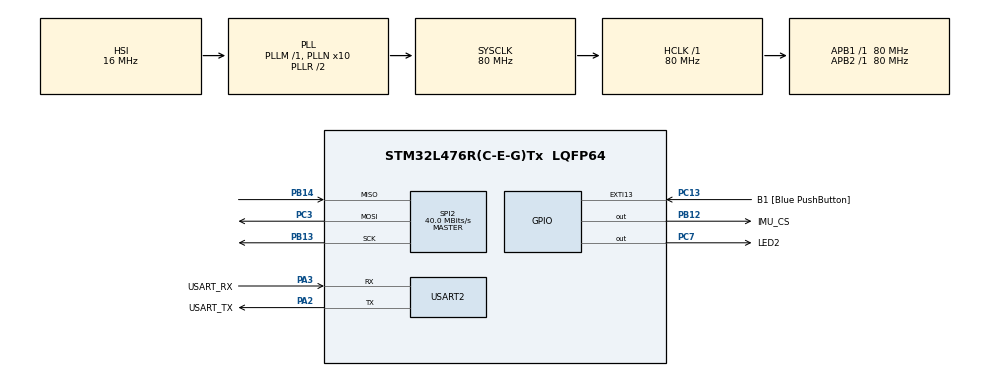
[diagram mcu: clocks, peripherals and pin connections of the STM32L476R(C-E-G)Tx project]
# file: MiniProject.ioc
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Mcu.Family=STM32L4
Mcu.Name=STM32L476R(C-E-G)Tx
Mcu.Package=LQFP64
NVIC.PriorityGroup=NVIC_PRIORITYGROUP_4
PA13\ (JTMS-SWDIO).GPIO_Label=TMS
PA13\ (JTMS-SWDIO).Mode=Serial_Wire
PA13\ (JTMS-SWDIO).Signal=SYS_JTMS-SWDIO
PA14\ (JTCK-SWCLK).GPIO_Label=TCK
PA14\ (JTCK-SWCLK).Mode=Serial_Wire
PA14\ (JTCK-SWCLK).Signal=SYS_JTCK-SWCLK
PA2.GPIO_Label=USART_TX
PA2.GPIO_Mode=GPIO_MODE_AF_PP
PA2.GPIO_PuPd=GPIO_NOPULL
PA2.GPIO_Speed=GPIO_SPEED_FREQ_VERY_HIGH
PA2.Mode=Asynchronous
PA2.Signal=USART2_TX
PA3.GPIO_Label=USART_RX
PA3.GPIO_Mode=GPIO_MODE_AF_PP
PA3.GPIO_PuPd=GPIO_NOPULL
PA3.GPIO_Speed=GPIO_SPEED_FREQ_VERY_HIGH
PA3.Mode=Asynchronous
PA3.Signal=USART2_RX
PB12.GPIO_Label=IMU_CS
PB12.Signal=GPIO_Output
PB13.Mode=Full_Duplex_Master
PB13.Signal=SPI2_SCK
PB14.Mode=Full_Duplex_Master
PB14.Signal=SPI2_MISO
PB3\ (JTDO-TRACESWO).GPIO_Label=SWO
PB3\ (JTDO-TRACESWO).Signal=SYS_JTDO-SWO
PC13.GPIO_Label=B1 [Blue PushButton]
PC13.GPIO_ModeDefaultEXTI=GPIO_MODE_IT_FALLING
PC13.GPIO_PuPd=GPIO_NOPULL
PC13.Signal=GPXTI13
PC14-OSC32_IN\ (PC14).Mode=LSE-External-Oscillator
PC14-OSC32_IN\ (PC14).Signal=RCC_OSC32_IN
PC15-OSC32_OUT\ (PC15).Mode=LSE-External-Oscillator
PC15-OSC32_OUT\ (PC15).Signal=RCC_OSC32_OUT
PC3.Mode=Full_Duplex_Master
PC3.Signal=SPI2_MOSI
PC7.GPIO_Label=LED2
PC7.Signal=GPIO_Output
PH0-OSC_IN\ (PH0).Signal=RCC_OSC_IN
PH1-OSC_OUT\ (PH1).Signal=RCC_OSC_OUT
ProjectManager.HeapSize=0x200
ProjectManager.StackSize=0x400
ProjectManager.TargetToolchain=CMake
RCC.ADCFreq_Value=64000000
RCC.AHBFreq_Value=80000000
RCC.APB1Freq_Value=80000000
RCC.APB1TimFreq_Value=80000000
RCC.APB2Freq_Value=80000000
RCC.APB2TimFreq_Value=80000000
RCC.CortexFreq_Value=80000000
RCC.HCLKFreq_Value=80000000
RCC.HSE_VALUE=8000000
RCC.HSI_VALUE=16000000
RCC.MSI_VALUE=4000000
RCC.PLLN=10
RCC.PLLSourceVirtual=RCC_PLLSOURCE_HSI
RCC.SYSCLKFreq_VALUE=80000000
RCC.SYSCLKSource=RCC_SYSCLKSOURCE_PLLCLK
RCC.USBFreq_Value=64000000
RCC.VCOOutputFreq_Value=160000000
SPI2.CalculateBaudRate=40.0 MBits/s
SPI2.DataSize=SPI_DATASIZE_8BIT
SPI2.Direction=SPI_DIRECTION_2LINES
SPI2.Mode=SPI_MODE_MASTER
SPI2.VirtualType=VM_MASTER
USART2.VirtualMode-Asynchronous=VM_ASYNC
board=NUCLEO-L476RG

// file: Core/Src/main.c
/* USER CODE BEGIN Header */
/**
  ******************************************************************************
  * @file           : main.c
  * @brief          : Main program body
  ******************************************************************************
  * @attention
  *
  * Copyright (c) 2025 STMicroelectronics.
  * All rights reserved.
  *
  * This software is licensed under terms that can be found in the LICENSE file
  * in the root directory of this software component.
  * If no LICENSE file comes with this software, it is provided AS-IS.
  *
  ******************************************************************************
  */
/* USER CODE END Header */
#include "main.h"

/* USER CODE BEGIN Includes */
#include "stm32l476xx.h"
#include "stm32l4xx_hal.h"
#include "stm32l4xx_hal_cortex.h"
#include "stm32l4xx_hal_pwr.h"
#include "stm32l4xx_hal_spi.h"
#include "stm32l4xx_hal_uart.h"
#include <stdint.h>
#include <string.h>
#include <stdio.h>
#include <math.h>
/* USER CODE END Includes */

SPI_HandleTypeDef hspi2;
UART_HandleTypeDef huart2;

/* USER CODE BEGIN PV */
//[change point 1] add button, for waking up from sleep mode
volatile int button_pressed_flag = 0;
/* USER CODE END PV */

void SystemClock_Config(void);
static void MX_GPIO_Init(void);
static void MX_USART2_UART_Init(void);
static void MX_SPI2_Init(void);

/* USER CODE BEGIN 0 */
int _write(int file, char *ptr, int len) {
    HAL_UART_Transmit(&huart2, (uint8_t*)ptr, len, HAL_MAX_DELAY);
    return len;
}

// --- Definition of Registers ---
#define WHO_AM_I_REG   0x0F
#define CTRL1_XL       0x10
#define CTRL2_G        0x11
#define OUTX_L_G       0x22
#define OUTX_L_XL      0x28

// --- Constant ---
#define SENSITIVITY_4G      0.000061f

// --- SPI Read/Write ---
void IMU_Write(uint8_t reg, uint8_t data) {
    HAL_GPIO_WritePin(IMU_CS_GPIO_Port, IMU_CS_Pin, GPIO_PIN_RESET); // CS low
    uint8_t addr = reg & 0x7F;

    HAL_StatusTypeDef st;
    st = HAL_SPI_Transmit(&hspi2, &addr, 1, 100);
    if (st != HAL_OK) printf("IMU_Write: addr tx failed (HAL_Status=%d)\r\n", (int)st);

    st = HAL_SPI_Transmit(&hspi2, &data, 1, 100);
    if (st != HAL_OK) printf("IMU_Write: data tx failed (HAL_Status=%d)\r\n", (int)st);

    HAL_GPIO_WritePin(IMU_CS_GPIO_Port, IMU_CS_Pin, GPIO_PIN_SET);   // CS high
}

void IMU_Read(uint8_t reg, uint8_t *data, uint16_t len) {
  HAL_GPIO_WritePin(IMU_CS_GPIO_Port, IMU_CS_Pin, GPIO_PIN_RESET); // CS low
  uint8_t addr = reg | 0x80; // read + auto-inc

  HAL_StatusTypeDef st;
  st = HAL_SPI_Transmit(&hspi2, &addr, 1, 100);
  if (st != HAL_OK) printf("IMU_Read: addr tx failed (HAL_Status=%d)\r\n", (int)st);

  for (uint16_t i = 0; i < len; i++) {
    uint8_t tx = 0xFF;
    st = HAL_SPI_TransmitReceive(&hspi2, &tx, &data[i], 1, 100);
    if (st != HAL_OK) {
      printf("IMU_Read: rx[%u] failed (HAL_Status=%d)\r\n", (unsigned)i, (int)st);
      data[i] = 0x00;
    }
  }

  HAL_GPIO_WritePin(IMU_CS_GPIO_Port, IMU_CS_Pin, GPIO_PIN_SET);   // CS high
}

// --- Initialization and Read ---
void IMU_Init_SPI(void) {
  HAL_Delay(100);
  uint8_t who_am_i = 0;

  // Read ID
  IMU_Read(WHO_AM_I_REG, &who_am_i, 1);
  printf("WHO_AM_I: 0x%02X\r\n", who_am_i);

  if (who_am_i == 0x70 || who_am_i == 0x71 || who_am_i == 0x6A) {
    printf(">>> Sensor Found! Initializing...\r\n");

    // Reset (SW_RESET) & Address Auto Increment (IF_INC)
    IMU_Write(0x12, 0x05);
    HAL_Delay(50); // wait for reset

    // Make sure for IF_INC and close BDU (protect against partial reads)
    IMU_Write(0x12, 0x04);

    // Set configuration for accelerometer: range ±4g, rate 104Hz
    IMU_Write(CTRL1_XL, 0x44);

    // check if CTRL1_XL really be 0x44
    uint8_t check_val = 0;
    IMU_Read(CTRL1_XL, &check_val, 1);

    if(check_val == 0x44) {
        printf(">>> Init SUCCESS! CTRL1_XL is 0x44. Sensor Active.\r\n");
    } else {
        printf("!!! Init FAILED! CTRL1_XL read back: 0x%02X (Expected 0x44) !!!\r\n", check_val);
        printf("Possible cause: SPI Write Error or CS pin issue.\r\n");
    }

  } else {
    printf("Warning: Unknown Device ID 0x%02X.\r\n", who_am_i);
  }
}

// Try alternate SPI CPOL/CPHA combinations if WHO_AM_I was unexpected
void IMU_Probe_SPI_Modes(uint8_t *detected_id) {
  uint8_t id = *detected_id;
  if (id == 0x6A) return; // ok

  struct {
    uint32_t cpol;
    uint32_t cpha;
    const char *name;
  } modes[] = {
    {SPI_POLARITY_LOW,  SPI_PHASE_1EDGE, "Mode 0"},
    {SPI_POLARITY_LOW,  SPI_PHASE_2EDGE, "Mode 1"},
    {SPI_POLARITY_HIGH, SPI_PHASE_1EDGE, "Mode 2"},
    {SPI_POLARITY_HIGH, SPI_PHASE_2EDGE, "Mode 3"},
  };

  for (int m = 0; m < 4; m++) {
    hspi2.Init.CLKPolarity = modes[m].cpol;
    hspi2.Init.CLKPhase = modes[m].cpha;

    if (HAL_SPI_DeInit(&hspi2) != HAL_OK) {
      printf("IMU_Probe: HAL_SPI_DeInit failed for %s\r\n", modes[m].name);
    }

    if (HAL_SPI_Init(&hspi2) != HAL_OK) {
      printf("IMU_Probe: HAL_SPI_Init failed for %s\r\n", modes[m].name);
      continue;
    }

    HAL_Delay(10);
    uint8_t who = 0;
    IMU_Read(WHO_AM_I_REG, &who, 1);

    printf("Probe %s -> WHO_AM_I=0x%02X\r\n", modes[m].name, who);
    if (who == 0x6A) {
      *detected_id = who;
      printf("IMU found with %s\r\n", modes[m].name);
      return;
    }
  }
}

// Helper: read raw accel registers (6 bytes)
void IMU_ReadRawAccel(uint8_t raw[6]) {
  IMU_Read(OUTX_L_XL, raw, 6);
}

// === Algorithm 1: calculate vector magnitude ===
float Get_Vector(void) {
    uint8_t raw[6];
    IMU_Read(OUTX_L_XL, raw, 6);
    int16_t x = (int16_t)(raw[1] << 8 | raw[0]);
    int16_t y = (int16_t)(raw[3] << 8 | raw[2]);
    int16_t z = (int16_t)(raw[5] << 8 | raw[4]);
    float xg = x * SENSITIVITY_4G;
    float yg = y * SENSITIVITY_4G;
    float zg = z * SENSITIVITY_4G;
    return sqrtf(xg*xg + yg*yg + zg*zg);
}

// === Algorithm 2: calculate angle ===
float Get_Angle(void) {
    uint8_t raw[6];
    // Read acceleration data (SPI read 6 bytes)
    IMU_Read(OUTX_L_XL, raw, 6);

    // Convert raw data
    // angle calculation temporarily not using X axis
    int16_t y = (int16_t)(raw[3] << 8 | raw[2]);
    int16_t z = (int16_t)(raw[5] << 8 | raw[4]);

    // Convert to physical units (g)
    float yg = y * SENSITIVITY_4G;
    float zg = z * SENSITIVITY_4G;

    // Calculate angle (using atan2)
    float angle_rad = atan2f(yg, zg);
    float angle_deg = angle_rad * 57.296f; // 57.296f = (180 / PI)

    return fabsf(angle_deg); // Take absolute value
}

void Profiling_Init(void){
  // Use DWT (Data Watchpoint and Trace)
  CoreDebug->DEMCR |= CoreDebug_DEMCR_TRCENA_Msk;

  DWT->CYCCNT = 0; // reset cycle counter
  DWT->CTRL |= DWT_CTRL_CYCCNTENA_Msk; // start period
}

void Profiling_Start(void){
  DWT->CYCCNT = 0;
}

uint32_t Profiling_Stop(void){
  return DWT->CYCCNT;
}

/* USER CODE END 0 */

int main(void)
{

  /* MCU Configuration--------------------------------------------------------*/

  /* Reset of all peripherals, Initializes the Flash interface and the Systick. */
  HAL_Init();

  /* Configure the system clock */
  SystemClock_Config();

  /* Initialize all configured peripherals */
  MX_GPIO_Init();
  MX_USART2_UART_Init();
  MX_SPI2_Init();
  /* USER CODE BEGIN 2 */
  // Hardware self-test: UART + LED blink
  printf("\r\n--- Fall Detection Project Start ---\r\n");
  printf("SELFTEST: Blinking LED2 for 3 times\r\n");
  for (int k = 0; k < 3; k++) {
    HAL_GPIO_WritePin(LED2_GPIO_Port, LED2_Pin, GPIO_PIN_SET);
    HAL_Delay(200);
    HAL_GPIO_WritePin(LED2_GPIO_Port, LED2_Pin, GPIO_PIN_RESET);
    HAL_Delay(200);
  }

  IMU_Init_SPI();

  /* USER CODE END 2 */

  /* Infinite loop */
  /* USER CODE BEGIN WHILE */
  static uint8_t init_done = 0;
  if(init_done == 0) {
      IMU_Init_SPI();
      HAL_Delay(500);
      init_done = 1;
  }

  Profiling_Init();
  printf("System Clock: %lu Hz\r\n", HAL_RCC_GetSysClockFreq()); // Print system clock frequency

  while (1)
  {
    /* USER CODE END WHILE */

    /* USER CODE BEGIN 3 */
    /* USER CODE BEGIN 3 */

    // ------------------------------------------
    // 1. ACTIVE MODE (data acquisition & processing)
    // ------------------------------------------
    printf("Active Mode...\r\n");
    /* Method 2: improved angle-based detection
       - low-pass filter the angle to remove jitter
       - detect a rapid angle spike (large delta), then check for sustained large tilt
         combined with low acceleration (lying state) within a short window
       - latch alarm (LED2 + message) until cleared with user button (B1)
    */
    for(int i = 0; i < 300; i++){
      uint8_t raw[6];
      IMU_ReadRawAccel(raw);

      int16_t x_raw = (int16_t)(raw[1] << 8 | raw[0]);
      int16_t y_raw = (int16_t)(raw[3] << 8 | raw[2]);
      int16_t z_raw = (int16_t)(raw[5] << 8 | raw[4]);

      float xg = x_raw * SENSITIVITY_4G;
      float yg = y_raw * SENSITIVITY_4G;
      float zg = z_raw * SENSITIVITY_4G;

      Profiling_Start();
      float vec = sqrtf(xg*xg + yg*yg + zg*zg);
      uint32_t cycles_vec = Profiling_Stop();

      Profiling_Start();
      float ang = fabsf(atan2f(sqrtf(yg*yg + zg*zg), fabsf(xg)) * 57.296f);
      uint32_t cycles_ang = Profiling_Stop();

      if(i % 100 == 0) {

        printf("Perf: Vector=%lu cyc | Angle=%lu cyc\r\n", cycles_vec, cycles_ang);

        printf("Z:%d | V:%d.%02d | A:%d\r\n",
                   (int)z_raw,
                   (int)vec, (int)((vec - (int)vec)*100),
                   (int)ang);

        // --- Energy Calculation---

        // get system frequency
        uint32_t freq_hz = HAL_RCC_GetSysClockFreq();
        float freq_mhz = (float)freq_hz / 1000000.0f;

        // Calculate power
        float power_active_mW = 0.5f * freq_mhz;
        float power_sleep_mW = 0.015f;

        // Calculate Time
        float time_vec_s = (float)cycles_vec / (float)freq_hz;
        float time_ang_s = (float)cycles_ang / (float)freq_hz;
        float time_sleep_s = 5.0f;

        // Calculate Energy
        float energy_vec_uJ = power_active_mW * time_vec_s * 1000.0f * 1000.0f;
        float energy_ang_uJ = power_active_mW * time_ang_s * 1000.0f * 1000.0f;
        float energy_sleep_uJ = power_sleep_mW * time_sleep_s * 1000.0f * 1000.0f;
        float total_energy = energy_ang_uJ + energy_sleep_uJ;

        printf("\r\n--- Energy Report ---\r\n");

        printf("Freq: %d.%d MHz | Active Pwr: %d.%02d mW\r\n",
               (int)freq_mhz, (int)((freq_mhz - (int)freq_mhz)*10),
               (int)power_active_mW, (int)((power_active_mW - (int)power_active_mW)*100));

        printf("Algo 1 (Vector): %lu cyc -> %d.%04d uJ\r\n",
               cycles_vec,
               (int)energy_vec_uJ, (int)((energy_vec_uJ - (int)energy_vec_uJ)*10000));

        printf("Algo 2 (Angle) : %lu cyc -> %d.%04d uJ\r\n",
               cycles_ang,
               (int)energy_ang_uJ, (int)((energy_ang_uJ - (int)energy_ang_uJ)*10000));

        printf("Sleep Mode (5s): %d.%02d uJ\r\n",
               (int)energy_sleep_uJ, (int)((energy_sleep_uJ - (int)energy_sleep_uJ)*100));

        printf("Total Energy/Period: %d.%02d uJ\r\n",
               (int)total_energy, (int)((total_energy - (int)total_energy)*100));

        printf("---------------------\r\n");
      }

      // Thereshold check
      if(vec > 1.5f || ang > 60.0f){
         printf("!!! FALL DETECTED !!! (V:%d.%02d)\r\n", (int)vec, (int)((vec - (int)vec)*100));

         printf("X:%d | Y:%d | Z:%d | V:%.2f\r\n", x_raw, y_raw, z_raw, vec);

         HAL_GPIO_WritePin(LED2_GPIO_Port, LED2_Pin, GPIO_PIN_SET);
         HAL_Delay(1000);
         HAL_GPIO_WritePin(LED2_GPIO_Port, LED2_Pin, GPIO_PIN_RESET);

         //break;
      }

      HAL_Delay(10);
    }

    // ------------------------------------------
    // 2. SLEEP MODE
    // ------------------------------------------

    printf("Entering Sleep Mode (5s auto-wakeup)...\r\n");

    uint32_t sleep_start = HAL_GetTick();

    while ((HAL_GetTick() - sleep_start) < 5000)
    {
      HAL_PWR_EnterSLEEPMode(PWR_LOWPOWERREGULATOR_ON, PWR_SLEEPENTRY_WFI);
    }

    printf("--- Auto Woke Up! ---\r\n");

  }

  /* USER CODE END 3 */
}

void SystemClock_Config(void)
{
  RCC_OscInitTypeDef RCC_OscInitStruct = {0};
  RCC_ClkInitTypeDef RCC_ClkInitStruct = {0};

  /** Configure the main internal regulator output voltage
  */
  if (HAL_PWREx_ControlVoltageScaling(PWR_REGULATOR_VOLTAGE_SCALE1) != HAL_OK)
  {
    Error_Handler();
  }

  /** Initializes the RCC Oscillators according to the specified parameters
  * in the RCC_OscInitTypeDef structure.
  */
  RCC_OscInitStruct.OscillatorType = RCC_OSCILLATORTYPE_HSI;
  RCC_OscInitStruct.HSIState = RCC_HSI_ON;
  RCC_OscInitStruct.HSICalibrationValue = RCC_HSICALIBRATION_DEFAULT;
  RCC_OscInitStruct.PLL.PLLState = RCC_PLL_ON;
  RCC_OscInitStruct.PLL.PLLSource = RCC_PLLSOURCE_HSI;
  RCC_OscInitStruct.PLL.PLLM = 1;
  RCC_OscInitStruct.PLL.PLLN = 10;
  RCC_OscInitStruct.PLL.PLLP = RCC_PLLP_DIV7;
  RCC_OscInitStruct.PLL.PLLQ = RCC_PLLQ_DIV2;
  RCC_OscInitStruct.PLL.PLLR = RCC_PLLR_DIV2;
  if (HAL_RCC_OscConfig(&RCC_OscInitStruct) != HAL_OK)
  {
    Error_Handler();
  }

  /** Initializes the CPU, AHB and APB buses clocks
  */
  RCC_ClkInitStruct.ClockType = RCC_CLOCKTYPE_HCLK|RCC_CLOCKTYPE_SYSCLK
                              |RCC_CLOCKTYPE_PCLK1|RCC_CLOCKTYPE_PCLK2;
  RCC_ClkInitStruct.SYSCLKSource = RCC_SYSCLKSOURCE_PLLCLK;
  RCC_ClkInitStruct.AHBCLKDivider = RCC_SYSCLK_DIV1;
  RCC_ClkInitStruct.APB1CLKDivider = RCC_HCLK_DIV1;
  RCC_ClkInitStruct.APB2CLKDivider = RCC_HCLK_DIV1;

  if (HAL_RCC_ClockConfig(&RCC_ClkInitStruct, FLASH_LATENCY_4) != HAL_OK)
  {
    Error_Handler();
  }
}

static void MX_SPI2_Init(void)
{

  /* SPI2 parameter configuration*/
  hspi2.Instance = SPI2;
  hspi2.Init.Mode = SPI_MODE_MASTER;
  hspi2.Init.Direction = SPI_DIRECTION_2LINES;
  hspi2.Init.DataSize = SPI_DATASIZE_8BIT;
  hspi2.Init.CLKPolarity = SPI_POLARITY_LOW;
  hspi2.Init.CLKPhase = SPI_PHASE_1EDGE;
  hspi2.Init.NSS = SPI_NSS_SOFT;
  hspi2.Init.BaudRatePrescaler = SPI_BAUDRATEPRESCALER_16;
  hspi2.Init.FirstBit = SPI_FIRSTBIT_MSB;
  hspi2.Init.TIMode = SPI_TIMODE_DISABLE;
  hspi2.Init.CRCCalculation = SPI_CRCCALCULATION_DISABLE;
  hspi2.Init.CRCPolynomial = 7;
  hspi2.Init.CRCLength = SPI_CRC_LENGTH_DATASIZE;
  hspi2.Init.NSSPMode = SPI_NSS_PULSE_ENABLE;
  if (HAL_SPI_Init(&hspi2) != HAL_OK)
  {
    Error_Handler();
  }

}

static void MX_USART2_UART_Init(void)
{

  huart2.Instance = USART2;
  huart2.Init.BaudRate = 115200;
  huart2.Init.WordLength = UART_WORDLENGTH_8B;
  huart2.Init.StopBits = UART_STOPBITS_1;
  huart2.Init.Parity = UART_PARITY_NONE;
  huart2.Init.Mode = UART_MODE_TX_RX;
  huart2.Init.HwFlowCtl = UART_HWCONTROL_NONE;
  huart2.Init.OverSampling = UART_OVERSAMPLING_16;
  huart2.Init.OneBitSampling = UART_ONE_BIT_SAMPLE_DISABLE;
  huart2.AdvancedInit.AdvFeatureInit = UART_ADVFEATURE_NO_INIT;
  if (HAL_UART_Init(&huart2) != HAL_OK)
  {
    Error_Handler();
  }

}

static void MX_GPIO_Init(void)
{
  GPIO_InitTypeDef GPIO_InitStruct = {0};

  /* GPIO Ports Clock Enable */
  __HAL_RCC_GPIOC_CLK_ENABLE();
  __HAL_RCC_GPIOH_CLK_ENABLE();
  __HAL_RCC_GPIOA_CLK_ENABLE();
  __HAL_RCC_GPIOB_CLK_ENABLE();

  /*Configure GPIO pin Output Level */
  HAL_GPIO_WritePin(IMU_CS_GPIO_Port, IMU_CS_Pin, GPIO_PIN_SET);

  /*Configure GPIO pin Output Level */
  HAL_GPIO_WritePin(LED2_GPIO_Port, LED2_Pin, GPIO_PIN_RESET);

  /*Configure GPIO pin : B1_Pin */
  GPIO_InitStruct.Pin = B1_Pin;
  GPIO_InitStruct.Mode = GPIO_MODE_IT_FALLING;
  GPIO_InitStruct.Pull = GPIO_NOPULL;
  HAL_GPIO_Init(B1_GPIO_Port, &GPIO_InitStruct);

  /*Configure GPIO pin : IMU_CS_Pin */
  GPIO_InitStruct.Pin = IMU_CS_Pin;
  GPIO_InitStruct.Mode = GPIO_MODE_OUTPUT_PP;
  GPIO_InitStruct.Pull = GPIO_NOPULL;
  GPIO_InitStruct.Speed = GPIO_SPEED_FREQ_LOW;
  HAL_GPIO_Init(IMU_CS_GPIO_Port, &GPIO_InitStruct);

  /*Configure GPIO pin : LED2_Pin */
  GPIO_InitStruct.Pin = LED2_Pin;
  GPIO_InitStruct.Mode = GPIO_MODE_OUTPUT_PP;
  GPIO_InitStruct.Pull = GPIO_NOPULL;
  GPIO_InitStruct.Speed = GPIO_SPEED_FREQ_LOW;
  HAL_GPIO_Init(LED2_GPIO_Port, &GPIO_InitStruct);

  HAL_NVIC_SetPriority(EXTI15_10_IRQn, 0, 0);
  HAL_NVIC_EnableIRQ(EXTI15_10_IRQn);

}

/* USER CODE BEGIN 4 */
void HAL_GPIO_EXTI_Callback(uint16_t GPIO_Pin){
    if(GPIO_Pin == B1_Pin){
        button_pressed_flag = 1;
    }
}
/* USER CODE END 4 */

void Error_Handler(void)
{
  __disable_irq();
  while (1)
  {
  }
}
